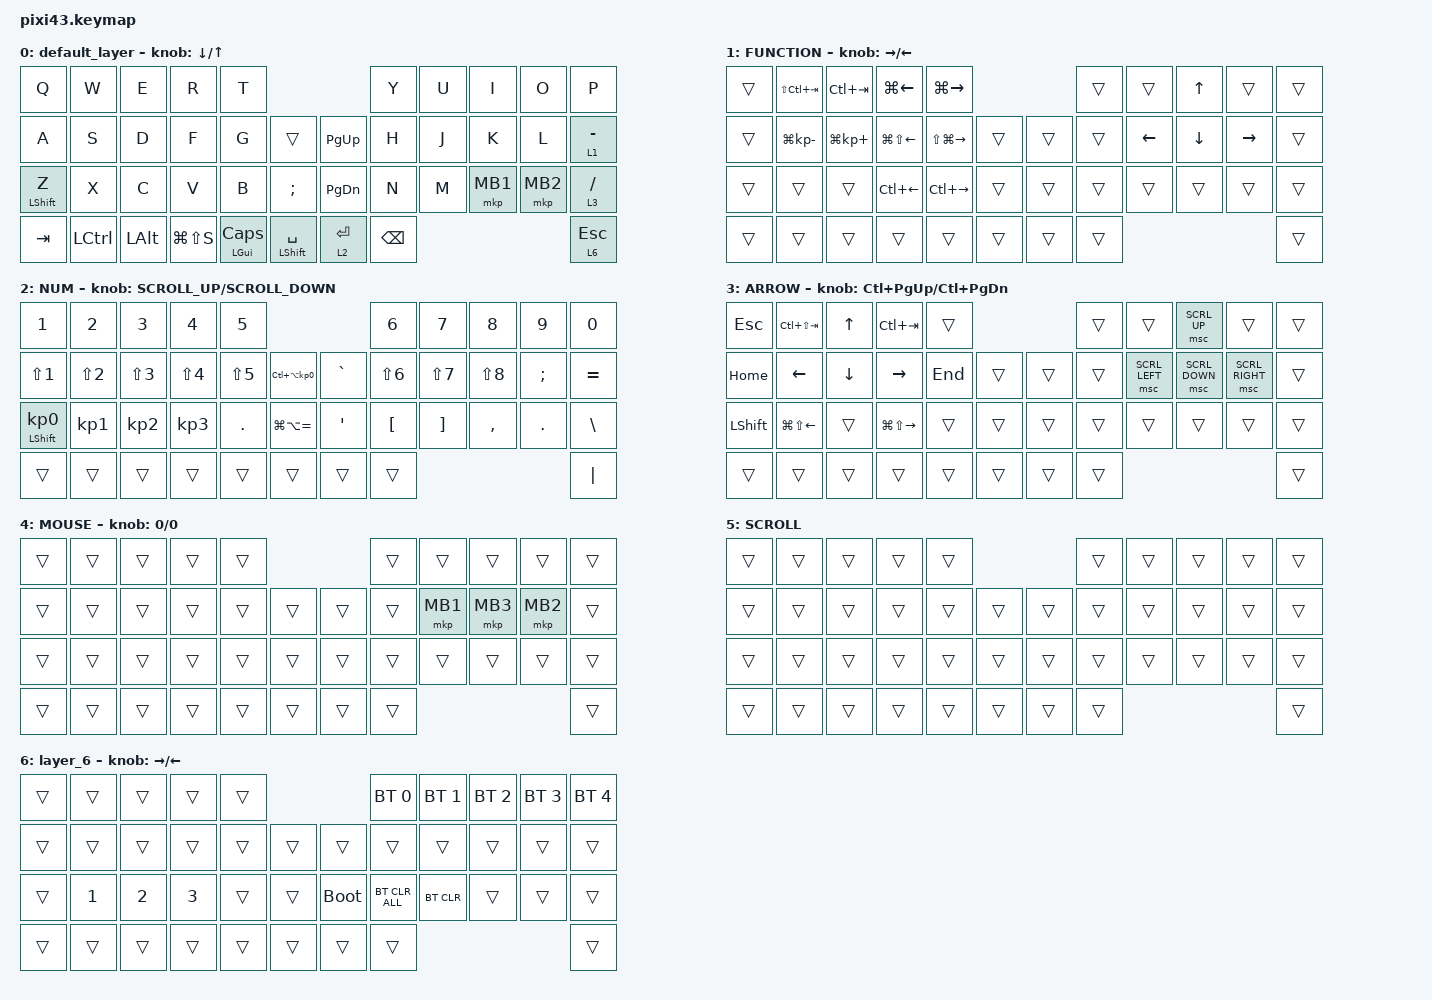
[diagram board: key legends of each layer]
#include <behaviors.dtsi>
#include <dt-bindings/zmk/bt.h>
#include <dt-bindings/zmk/keys.h>
#include <dt-bindings/zmk/pointing.h>

&mt {
    flavor = "balanced";
    quick-tap-ms = <0>;
};

&trackball {
    automouse-layer = <4>;
    scroll-layers = <5>;

    // arrows {
    //     layers = <3>;
    //     bindings =
    //         <&kp RIGHT_ARROW>,
    //         <&kp LEFT_ARROW>,
    //         <&kp UP_ARROW>,
    //         <&kp DOWN_ARROW>;
    //     tick = <10>;
    //     wait-ms = <5>;
    //     tap-ms = <5>;
    // };
};

/ {
    combos {
        compatible = "zmk,combos";

        tab {
            bindings = <&kp TAB>;
            key-positions = <11 12>;
        };

        shift_tab {
            bindings = <&kp LS(TAB)>;
            key-positions = <12 13>;
        };

        muhennkann {
            bindings = <&to_layer_0 INT_MUHENKAN>;
            key-positions = <11 10>;
        };

        double_quotation {
            bindings = <&kp DOUBLE_QUOTES>;
            key-positions = <20 21>;
        };

        eq {
            bindings = <&kp EQUAL>;
            key-positions = <24 25>;
        };
    };

    macros {
        to_layer_0: to_layer_0 {
            compatible = "zmk,behavior-macro-one-param";
            #binding-cells = <1>;
            bindings = <&to 0 &macro_param_1to1 &kp MACRO_PLACEHOLDER>;
            label = "TO_LAYER_0";
        };
    };

    behaviors {
        lt_to_layer_0: lt_to_layer_0 {
            compatible = "zmk,behavior-hold-tap";
            label = "LAYER_TAP_TO_0";
            bindings = <&mo>, <&to_layer_0>;

            #binding-cells = <2>;
            tapping-term-ms = <200>;
        };
    };

    keymap {
        compatible = "zmk,keymap";

        default_layer {
            bindings = <
&kp Q             &kp W      &kp E         &kp R          &kp T                                                       &kp Y          &kp U  &kp I     &kp O     &kp P
&kp A             &kp S      &kp D         &kp F          &kp G              &trans                    &kp PG_UP      &kp H          &kp J  &kp K     &kp L     &lt 1 MINUS
&mt LEFT_SHIFT Z  &kp X      &kp C         &kp V          &kp B              &kp SEMICOLON             &kp PAGE_DOWN  &kp N          &kp M  &mkp MB1  &mkp MB2  &lt 3 SLASH
&kp TAB           &kp LCTRL  &kp LEFT_ALT  &kp LG(LS(S))  &mt LEFT_GUI CAPS  &mt LEFT_SHIFT SPACE      &lt 2 ENTER    &kp BACKSPACE                             &lt 6 ESCAPE
            >;

            sensor-bindings = <&inc_dec_kp DOWN_ARROW UP_ARROW>;
        };

        FUNCTION {
            bindings = <
&trans  &kp LS(LC(TAB))   &kp LC(TAB)      &kp LG(LEFT)            &kp LG(RIGHT)                          &trans  &trans    &kp UP_ARROW    &trans     &trans
&trans  &kp LG(KP_MINUS)  &kp LG(KP_PLUS)  &kp LG(LS(LEFT_ARROW))  &kp LS(LG(RIGHT))  &trans      &trans  &trans  &kp LEFT  &kp DOWN_ARROW  &kp RIGHT  &trans
&trans  &trans            &trans           &kp LC(LEFT_ARROW)      &kp LC(RIGHT)      &trans      &trans  &trans  &trans    &trans          &trans     &trans
&trans  &trans            &trans           &trans                  &trans             &trans      &trans  &trans                                       &trans
            >;

            sensor-bindings = <&inc_dec_kp RIGHT LEFT_ARROW>;
        };

        NUM {
            bindings = <
&kp NUMBER_1                &kp NUMBER_2      &kp NUMBER_3      &kp NUMBER_4      &kp N5                                                     &kp NUMBER_6      &kp N7             &kp N8      &kp N9         &kp N0
&kp LS(NUMBER_1)            &kp LS(NUMBER_2)  &kp LS(NUMBER_3)  &kp LS(NUMBER_4)  &kp LS(N5)  &kp LC(LA(KP_NUMBER_0))      &kp GRAVE         &kp LS(NUMBER_6)  &kp LS(N7)         &kp LS(N8)  &kp SEMICOLON  &kp EQUAL
&mt LEFT_SHIFT KP_NUMBER_0  &kp KP_NUMBER_1   &kp KP_NUMBER_2   &kp KP_NUMBER_3   &kp PERIOD  &kp LG(LA(EQUAL))            &kp SINGLE_QUOTE  &kp LEFT_BRACKET  &kp RIGHT_BRACKET  &kp COMMA   &kp PERIOD     &kp BACKSLASH
&trans                      &trans            &trans            &trans            &trans      &trans                       &trans            &trans                                                          &kp PIPE
            >;

            sensor-bindings = <&inc_dec_kp K_SCROLL_UP K_SCROLL_DOWN>;
        };

        ARROW {
            bindings = <
&kp ESCAPE      &kp LC(LS(TAB))         &kp UP_ARROW    &kp LC(TAB)              &trans                       &trans  &trans          &msc SCRL_UP    &trans           &trans
&kp HOME        &kp LEFT_ARROW          &kp DOWN_ARROW  &kp RIGHT_ARROW          &kp END  &trans      &trans  &trans  &msc SCRL_LEFT  &msc SCRL_DOWN  &msc SCRL_RIGHT  &trans
&kp LEFT_SHIFT  &kp LG(LS(LEFT_ARROW))  &trans          &kp LG(LS(RIGHT_ARROW))  &trans   &trans      &trans  &trans  &trans          &trans          &trans           &trans
&trans          &trans                  &trans          &trans                   &trans   &trans      &trans  &trans                                                   &trans
            >;

            sensor-bindings = <&inc_dec_kp LC(PAGE_UP) LC(PAGE_DOWN)>;
        };

        MOUSE {
            bindings = <
&trans  &trans  &trans  &trans  &trans                      &trans  &trans    &trans    &trans    &trans
&trans  &trans  &trans  &trans  &trans  &trans      &trans  &trans  &mkp MB1  &mkp MB3  &mkp MB2  &trans
&trans  &trans  &trans  &trans  &trans  &trans      &trans  &trans  &trans    &trans    &trans    &trans
&trans  &trans  &trans  &trans  &trans  &trans      &trans  &trans                                &trans
            >;

            sensor-bindings = <&inc_dec_kp 0 0>;
        };

        SCROLL {
            bindings = <
&trans  &trans  &trans  &trans  &trans                      &trans  &trans  &trans  &trans  &trans
&trans  &trans  &trans  &trans  &trans  &trans      &trans  &trans  &trans  &trans  &trans  &trans
&trans  &trans  &trans  &trans  &trans  &trans      &trans  &trans  &trans  &trans  &trans  &trans
&trans  &trans  &trans  &trans  &trans  &trans      &trans  &trans                          &trans
            >;
        };

        layer_6 {
            bindings = <
&trans  &trans        &trans        &trans        &trans                           &bt BT_SEL 0    &bt BT_SEL 1  &bt BT_SEL 2  &bt BT_SEL 3  &bt BT_SEL 4
&trans  &trans        &trans        &trans        &trans  &trans      &trans       &trans          &trans        &trans        &trans        &trans
&trans  &kp NUMBER_1  &kp NUMBER_2  &kp NUMBER_3  &trans  &trans      &bootloader  &bt BT_CLR_ALL  &bt BT_CLR    &trans        &trans        &trans
&trans  &trans        &trans        &trans        &trans  &trans      &trans       &trans                                                    &trans
            >;

            sensor-bindings = <&inc_dec_kp RIGHT LEFT>;
        };
    };
};
